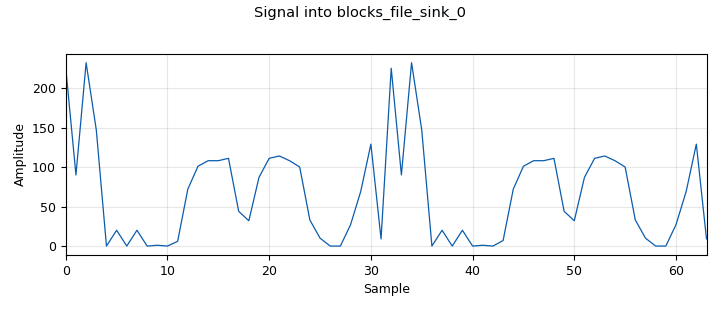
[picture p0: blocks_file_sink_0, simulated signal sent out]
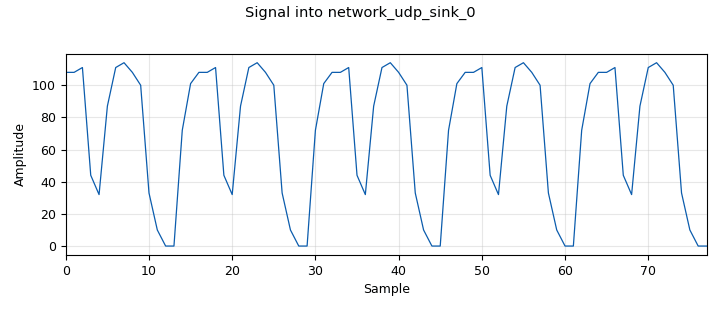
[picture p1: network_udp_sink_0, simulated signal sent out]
options:
  parameters:
    author: ubuntu
    generate_options: no_gui
    id: test_header_payload_demux
    output_language: python
    title: Header/Payload demux demo
  states: {}

blocks:
- name: access_code
  id: variable
  parameters:
    value: '"11100001010110101110100010010011"'
  states: {}
- name: access_code_cplx
  id: variable
  parameters:
    value: '[(complex(x)-0.5)*2 for x in list(access_code)]'
  states: {}
- name: format_used
  id: variable
  parameters:
    value: digital.header_format_default(access_code,0)
  states: {state: disabled}
- name: format_used
  id: variable
  parameters:
    value: digital.header_format_counter(access_code,0,1)
  states: {}
- name: samp_rate
  id: variable
  parameters:
    value: '48000'
  states: {}
- name: analog_random_source_x_0
  id: analog_random_source_x
  parameters:
    max: '256'
    min: '0'
    num_samps: '1000'
    repeat: 'True'
    type: byte
  states: {state: disabled}
- name: blocks_add_const_vxx_0
  id: blocks_add_const_vxx
  parameters:
    const: '-0.5'
    type: float
  states: {}
- name: blocks_char_to_float_0
  id: blocks_char_to_float
  parameters:
    scale: '1'
  states: {}
- name: blocks_complex_to_float_0
  id: blocks_complex_to_float
  parameters: {}
  states: {}
- name: blocks_complex_to_float_1
  id: blocks_complex_to_float
  parameters: {}
  states: {}
- name: blocks_file_sink_0
  id: blocks_file_sink
  parameters:
    file: out.bin
    type: byte
  states: {}
- name: blocks_float_to_char_0
  id: blocks_float_to_char
  parameters:
    scale: '1'
  states: {state: disabled}
- name: blocks_float_to_complex_0
  id: blocks_float_to_complex
  parameters: {}
  states: {}
- name: blocks_message_debug_0
  id: blocks_message_debug
  parameters: {}
  states: {state: disabled}
- name: blocks_message_debug_1
  id: blocks_message_debug
  parameters: {}
  states: {}
- name: blocks_message_debug_2
  id: blocks_message_debug
  parameters: {}
  states: {state: disabled}
- name: blocks_message_strobe_0
  id: blocks_message_strobe
  parameters:
    msg: pmt.cons(pmt.PMT_NIL, pmt.init_u8vector(16, [0x48,0x65,0x6c,0x6c,0x6f,0x2c,0x20,0x57,0x6f,0x72,0x6c,0x64,0x21,0x0a]))
    period: '1000'
  states: {}
- name: blocks_multiply_const_vxx_0
  id: blocks_multiply_const_vxx
  parameters:
    const: '2'
    type: float
  states: {}
- name: blocks_null_sink_0
  id: blocks_null_sink
  parameters:
    type: float
  states: {}
- name: blocks_null_sink_1
  id: blocks_null_sink
  parameters:
    type: float
  states: {}
- name: blocks_pack_k_bits_bb_0
  id: blocks_pack_k_bits_bb
  parameters:
    k: '8'
  states: {state: disabled}
- name: blocks_repack_bits_bb_0
  id: blocks_repack_bits_bb
  parameters:
    endianness: gr.GR_MSB_FIRST
    k: '1'
    l: '8'
    len_tag_key: '"payload symbols"'
  states: {}
- name: blocks_stream_to_tagged_stream_0
  id: blocks_stream_to_tagged_stream
  parameters:
    len_tag_key: '"packet_len"'
    packet_len: '16'
    type: byte
  states: {state: disabled}
- name: blocks_stream_to_tagged_stream_1
  id: blocks_stream_to_tagged_stream
  parameters:
    len_tag_key: '"packet_len"'
    packet_len: '4'
    type: byte
  states: {state: disabled}
- name: blocks_tag_gate_0
  id: blocks_tag_gate
  parameters:
    propagate_tags: 'False'
    type: byte
  states: {}
- name: blocks_tagged_stream_mux_0
  id: blocks_tagged_stream_mux
  parameters:
    lengthtagname: packet_len
    ninputs: '2'
    type: byte
  states: {}
- name: blocks_tagged_stream_mux_1
  id: blocks_tagged_stream_mux
  parameters:
    lengthtagname: packet_len
    ninputs: '2'
    type: byte
  states: {state: disabled}
- name: blocks_throttle2_0
  id: blocks_throttle2
  parameters:
    samples_per_second: samp_rate
    type: byte
  states: {state: disabled}
- name: blocks_unpack_k_bits_bb_0
  id: blocks_unpack_k_bits_bb
  parameters:
    k: '8'
  states: {}
- name: blocks_vector_source_x_0
  id: blocks_vector_source_x
  parameters:
    repeat: 'True'
    type: float
    vector: '[float(x) for x in list(access_code)]'
  states: {state: disabled}
- name: blocks_vector_source_x_1
  id: blocks_vector_source_x
  parameters:
    repeat: 'True'
    type: float
    vector: '[0,]'
  states: {}
- name: digital_binary_slicer_fb_0
  id: digital_binary_slicer_fb
  parameters: {}
  states: {}
- name: digital_binary_slicer_fb_1
  id: digital_binary_slicer_fb
  parameters: {}
  states: {}
- name: digital_corr_est_cc_0
  id: digital_corr_est_cc
  parameters:
    mark_delay: '1'
    sps: '1'
    symbols: access_code_cplx
    threshold: '0.9'
    threshold_method: digital.THRESHOLD_ABSOLUTE
  states: {}
- name: digital_crc32_bb_0
  id: digital_crc32_bb
  parameters:
    check: 'False'
    lengthtagname: '"packet_len"'
    packed: 'True'
  states: {}
- name: digital_crc32_bb_1
  id: digital_crc32_bb
  parameters:
    check: 'True'
    lengthtagname: '"payload symbols"'
    packed: 'True'
  states: {}
- name: digital_header_payload_demux_0
  id: digital_header_payload_demux
  parameters:
    header_len: 12*8
    header_padding: '0'
    items_per_symbol: '1'
    length_tag_key: '"payload symbols"'
    output_symbols: 'False'
    samp_rate: samp_rate
    special_tags: ()
    timing_tag_key: '""'
    trigger_tag_key: '"time_est"'
    type: complex
  states: {}
- name: digital_protocol_formatter_bb_0
  id: digital_protocol_formatter_bb
  parameters:
    format: format_used
    len_tag_key: '"packet_len"'
  states: {}
- name: digital_protocol_parser_b_0
  id: digital_protocol_parser_b
  parameters:
    format: format_used
  states: {}
- name: network_udp_sink_0
  id: network_udp_sink
  parameters:
    addr: 127.0.0.1
    header: '0'
    payloadsize: '16'
    port: '47898'
    send_eof: 'False'
    type: byte
  states: {}
- name: pdu_pdu_to_tagged_stream_0
  id: pdu_pdu_to_tagged_stream
  parameters:
    tag: packet_len
    type: byte
  states: {}
- name: pdu_tagged_stream_to_pdu_0
  id: pdu_tagged_stream_to_pdu
  parameters:
    tag: payload symbols
    type: byte
  states: {}
- name: pdu_tagged_stream_to_pdu_1
  id: pdu_tagged_stream_to_pdu
  parameters:
    tag: packet_len
    type: byte
  states: {state: disabled}
- name: virtual_sink_0
  id: virtual_sink
  parameters:
    stream_id: pkt_bytes
  states: {}
- name: virtual_sink_1
  id: virtual_sink
  parameters:
    stream_id: hdr_bits
  states: {}
- name: virtual_sink_2
  id: virtual_sink
  parameters:
    stream_id: fake_bytes
  states: {state: disabled}
- name: virtual_sink_3
  id: virtual_sink
  parameters:
    stream_id: payload_symbols
  states: {}
- name: virtual_source_0
  id: virtual_source
  parameters:
    stream_id: pkt_bytes
  states: {}
- name: virtual_source_1
  id: virtual_source
  parameters:
    stream_id: hdr_bits
  states: {}
- name: virtual_source_2
  id: virtual_source
  parameters:
    stream_id: fake_bytes
  states: {state: disabled}
- name: virtual_source_3
  id: virtual_source
  parameters:
    stream_id: payload_symbols
  states: {}

connections:
- [analog_random_source_x_0, '0', blocks_stream_to_tagged_stream_0, '0']
- [blocks_add_const_vxx_0, '0', blocks_multiply_const_vxx_0, '0']
- [blocks_char_to_float_0, '0', blocks_add_const_vxx_0, '0']
- [blocks_complex_to_float_0, '0', digital_binary_slicer_fb_0, '0']
- [blocks_complex_to_float_0, '1', blocks_null_sink_0, '0']
- [blocks_complex_to_float_1, '0', digital_binary_slicer_fb_1, '0']
- [blocks_complex_to_float_1, '1', blocks_null_sink_1, '0']
- [blocks_float_to_char_0, '0', blocks_pack_k_bits_bb_0, '0']
- [blocks_float_to_complex_0, '0', digital_corr_est_cc_0, '0']
- [blocks_message_strobe_0, strobe, pdu_pdu_to_tagged_stream_0, pdus]
- [blocks_multiply_const_vxx_0, '0', blocks_float_to_complex_0, '0']
- [blocks_pack_k_bits_bb_0, '0', blocks_stream_to_tagged_stream_1, '0']
- [blocks_repack_bits_bb_0, '0', digital_crc32_bb_1, '0']
- [blocks_stream_to_tagged_stream_0, '0', blocks_tagged_stream_mux_1, '1']
- [blocks_stream_to_tagged_stream_1, '0', blocks_tagged_stream_mux_1, '0']
- [blocks_tag_gate_0, '0', blocks_file_sink_0, '0']
- [blocks_tag_gate_0, '0', virtual_sink_0, '0']
- [blocks_tagged_stream_mux_0, '0', blocks_tag_gate_0, '0']
- [blocks_tagged_stream_mux_1, '0', blocks_throttle2_0, '0']
- [blocks_throttle2_0, '0', pdu_tagged_stream_to_pdu_1, '0']
- [blocks_throttle2_0, '0', virtual_sink_2, '0']
- [blocks_unpack_k_bits_bb_0, '0', blocks_char_to_float_0, '0']
- [blocks_vector_source_x_0, '0', blocks_float_to_char_0, '0']
- [blocks_vector_source_x_1, '0', blocks_float_to_complex_0, '1']
- [digital_binary_slicer_fb_0, '0', digital_protocol_parser_b_0, '0']
- [digital_binary_slicer_fb_1, '0', blocks_repack_bits_bb_0, '0']
- [digital_corr_est_cc_0, '0', digital_header_payload_demux_0, '0']
- [digital_crc32_bb_0, '0', blocks_tagged_stream_mux_0, '1']
- [digital_crc32_bb_0, '0', digital_protocol_formatter_bb_0, '0']
- [digital_crc32_bb_1, '0', network_udp_sink_0, '0']
- [digital_crc32_bb_1, '0', pdu_tagged_stream_to_pdu_0, '0']
- [digital_header_payload_demux_0, '0', virtual_sink_1, '0']
- [digital_header_payload_demux_0, '1', virtual_sink_3, '0']
- [digital_protocol_formatter_bb_0, '0', blocks_tagged_stream_mux_0, '0']
- [digital_protocol_parser_b_0, info, blocks_message_debug_0, print]
- [digital_protocol_parser_b_0, info, digital_header_payload_demux_0, header_data]
- [pdu_pdu_to_tagged_stream_0, '0', digital_crc32_bb_0, '0']
- [pdu_tagged_stream_to_pdu_0, pdus, blocks_message_debug_1, print]
- [pdu_tagged_stream_to_pdu_1, pdus, blocks_message_debug_2, print]
- [virtual_source_0, '0', blocks_unpack_k_bits_bb_0, '0']
- [virtual_source_1, '0', blocks_complex_to_float_0, '0']
- [virtual_source_2, '0', blocks_tag_gate_0, '0']
- [virtual_source_3, '0', blocks_complex_to_float_1, '0']

metadata:
  file_format: 1
  grc_version: 3.10.9.2
